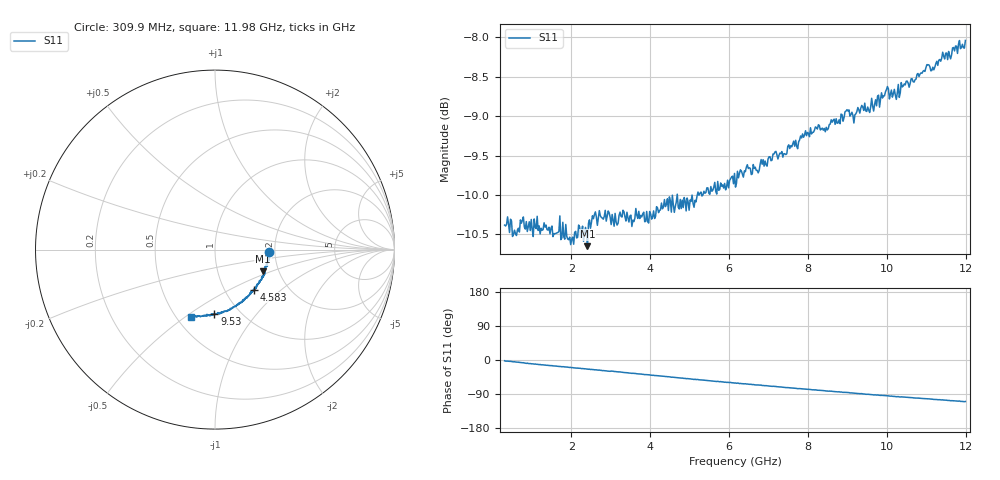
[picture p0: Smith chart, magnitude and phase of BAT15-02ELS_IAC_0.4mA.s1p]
! Infineon Technologies  Discrete & RF Semiconductors
! BAT15-02ELS
! IAC = 0.4 mA
! One-Port S-Parameters
# Hz  S  MA  R  50
!f  S11
!Hz  Mag  Ang
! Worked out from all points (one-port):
!   468 points, 309.9 MHz to 11.98 GHz, reference 50 ohm
!   lowest |S11| = -10.6 dB at 2.409 GHz (marker M1), VSWR 1.83, Z = 82.9 - j21.9 ohm
!   |S11| at or under -10 dB: start of sweep to 4.68 GHz; 4.684 GHz to 5.189 GHz (504.9 MHz wide, 10.2 % of centre); 5.230912 GHz to 5.234699 GHz (3.787 MHz wide, 0.0724 % of centre)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
!   S11 on the Smith chart (normalised r, x): 309.9 MHz: 1.87, -0.04; 4.583 GHz: 1.37, -0.67; 9.53 GHz: 0.77, -0.63; 11.98 GHz: 0.59, -0.53
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3.0985e8  0.3027 -2.0
4.347875e8  0.2994 -3.7
5.59725e8  0.3004 -4.6
7.59625e8  0.3047 -7.2
1.784112e9  0.3039 -17.6
2.009e9  0.2966 -20.3
2.4088e9  0.2935 -24.3
2.583712e9  0.3073 -25.8
3.233388e9  0.3085 -31.5
3.90805e9  0.3087 -38.7
4.382812e9  0.311 -43.7
4.582712e9  0.3118 -45.6
4.70765e9  0.3106 -47.0
5.132438e9  0.3138 -50.6
5.232388e9  0.3161 -52.2
6.156925e9  0.3199 -60.6
7.6062e9  0.3408 -73.8
8.230888e9  0.3482 -79.7
8.455775e9  0.3491 -81.7
8.980512e9  0.3582 -85.5
9.080462e9  0.3557 -86.7
9.530238e9  0.358 -90.6
9.980012e9  0.3689 -94.1
1.017991e10  0.369 -96.0
1.052974e10  0.3724 -98.9
1.102949e10  0.3824 -102.5
1.115442e10  0.3811 -103.6
1.197901e10  0.3963 -109.5
